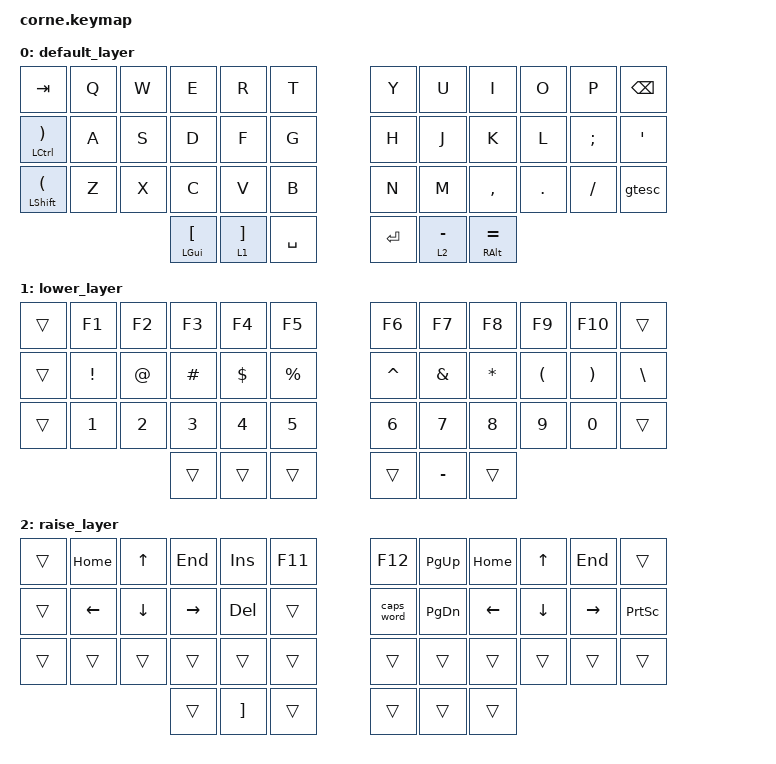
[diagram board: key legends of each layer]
/*
 * Copyright (c) 2020 The ZMK Contributors
 *
 * SPDX-License-Identifier: MIT
 */

#include <behaviors.dtsi>
#include <dt-bindings/zmk/keys.h>
#include <dt-bindings/zmk/bt.h>

/ {
        behaviors {
                gtesc: grave_tilde_escape {
                        compatible = "zmk,behavior-mod-morph";
                        label = "GRAVE_ESCAPE";
                        #binding-cells = <0>;
                        bindings = <&kp ESC>, <&kp GRAVE>;
                        mods = <(MOD_LGUI|MOD_LSFT|MOD_RGUI|MOD_RSFT)>;
                        keep-mods = <(MOD_LSFT|MOD_RSFT)>;
                };
        };

        keymap {
                compatible = "zmk,keymap";

                default_layer {
// -----------------------------------------------------------------------------------------
//         |  TAB |  Q  |  W  |  E  |  R  |  T  |   |  Y  |  U  |  I  |  O  |  P  | BKSP |
//         | LCT) |  A  |  S  |  D  |  F  |  G  |   |  H  |  J  |  K  |  L  |  ;  |  '   |
//         | LSH( |  Z  |  X  |  C  |  V  |  B  |   |  N  |  M  |  ,  |  .  |  /  | ES`~ |
//                            | LG[ | L1] | SPC |   | ENT | L2- | RA= |
                           bindings = <
     &kp     TAB    &kp Q &kp W &kp E &kp R &kp T   &kp Y &kp U  &kp I     &kp O   &kp P    &kp BSPC
     &mt LCTRL RPAR &kp A &kp S &kp D &kp F &kp G   &kp H &kp J  &kp K     &kp L   &kp SEMI &kp SQT
     &mt LSHFT LPAR &kp Z &kp X &kp C &kp V &kp B   &kp N &kp M  &kp COMMA &kp DOT &kp FSLH &gtesc
               &mt LGUI LBKT &lt 1 RBKT &kp SPACE   &kp RET &lt 2 MINUS &mt RALT EQUAL
                        >;
                };
                lower_layer {
// -----------------------------------------------------------------------------------------
//         |     | F1  | F2  | F3  | F4  | F5  |   | F6  | F7  | F8  | F9  | F10 |     |
//         |     |  !  |  @  |  #  |  $  |  %  |   |  ^  |  &  |  *  |  (  |  )  |  \| |
//         |     |  1  |  2  |  3  |  4  |  5  |   |  6  |  7  |  8  |  9  |  0  |     |
//                           |     |     |     |   |     |  -  |     |
                        bindings = <
&trans &kp F1   &kp F2 &kp F3   &kp F4   &kp F5     &kp F6    &kp F7   &kp F8   &kp F9   &kp F10  &trans
&trans &kp EXCL &kp AT &kp HASH &kp DLLR &kp PRCNT  &kp CARET &kp AMPS &kp STAR &kp LPAR &kp RPAR &kp BSLH
&trans &kp N1   &kp N2 &kp N3   &kp N4   &kp N5     &kp N6    &kp N7   &kp N8   &kp N9   &kp N0   &trans
                       &trans   &trans   &trans     &trans    &kp MINUS &trans
                        >;
                };

                raise_layer {
// -----------------------------------------------------------------------------------------
//      |     | HOME |  UP  | END  | INS | F11 |   | F12 | PGU | HOME |  UP  | END  |      |
//      |     | LEFT | DOWN | RIGHT| DEL | TG3 |   | CWT | PGD | LEFT | DOWN | RIGHT| PRSC |
//      |     |      |      |      |     |     |   |     |     |      |      |      |      |
//                          |      |  ]  |     |   |     |     |      |
                        bindings = <
&trans &kp HOME &kp UP   &kp END   &kp INS &kp F11  &kp F12    &kp PG_UP &kp HOME &kp UP   &kp END   &trans
&trans &kp LEFT &kp DOWN &kp RIGHT &kp DEL &trans   &caps_word &kp PG_DN &kp LEFT &kp DOWN &kp RIGHT &kp PSCRN
&trans &trans   &trans   &trans    &trans  &trans   &trans     &trans    &trans   &trans   &trans    &trans
                         &trans    &kp RBKT &trans  &trans     &trans    &trans
                        >;
                };
        };
};
